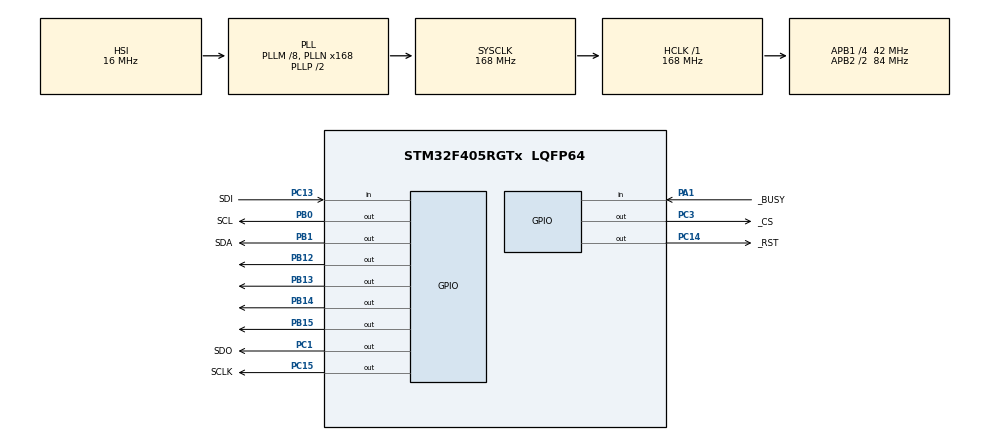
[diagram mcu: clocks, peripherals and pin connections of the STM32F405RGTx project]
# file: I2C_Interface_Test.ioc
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Mcu.Family=STM32F4
Mcu.Name=STM32F405RGTx
Mcu.Package=LQFP64
NVIC.PriorityGroup=NVIC_PRIORITYGROUP_4
PA1.GPIO_Label=_BUSY
PA1.Signal=GPIO_Input
PA13.Mode=Serial_Wire
PA13.Signal=SYS_JTMS-SWDIO
PA14.Mode=Serial_Wire
PA14.Signal=SYS_JTCK-SWCLK
PB0.GPIO_Label=SCL
PB0.GPIO_ModeDefaultOutputPP=GPIO_MODE_OUTPUT_PP
PB0.GPIO_PuPd=GPIO_NOPULL
PB0.GPIO_Speed=GPIO_SPEED_FREQ_VERY_HIGH
PB0.PinState=GPIO_PIN_SET
PB0.Signal=GPIO_Output
PB1.GPIO_Label=SDA
PB1.GPIO_ModeDefaultOutputPP=GPIO_MODE_OUTPUT_OD
PB1.GPIO_PuPd=GPIO_NOPULL
PB1.GPIO_Speed=GPIO_SPEED_FREQ_VERY_HIGH
PB1.PinState=GPIO_PIN_SET
PB1.Signal=GPIO_Output
PB12.GPIO_Speed=GPIO_SPEED_FREQ_VERY_HIGH
PB12.Signal=GPIO_Output
PB13.GPIO_Speed=GPIO_SPEED_FREQ_VERY_HIGH
PB13.Signal=GPIO_Output
PB14.GPIO_Speed=GPIO_SPEED_FREQ_VERY_HIGH
PB14.Signal=GPIO_Output
PB15.GPIO_ModeDefaultOutputPP=GPIO_MODE_OUTPUT_OD
PB15.GPIO_Speed=GPIO_SPEED_FREQ_VERY_HIGH
PB15.PinState=GPIO_PIN_SET
PB15.Signal=GPIO_Output
PC1.GPIO_Label=SDO
PC1.PinState=GPIO_PIN_SET
PC1.Signal=GPIO_Output
PC13-ANTI_TAMP.GPIO_Label=SDI
PC13-ANTI_TAMP.Signal=GPIO_Input
PC14-OSC32_IN.GPIO_Label=_RST
PC14-OSC32_IN.PinState=GPIO_PIN_SET
PC14-OSC32_IN.Signal=GPIO_Output
PC15-OSC32_OUT.GPIO_Label=SCLK
PC15-OSC32_OUT.Signal=GPIO_Output
PC3.GPIO_Label=_CS
PC3.PinState=GPIO_PIN_SET
PC3.Signal=GPIO_Output
PH0-OSC_IN.Mode=HSE-External-Clock-Source
PH0-OSC_IN.Signal=RCC_OSC_IN
PH1-OSC_OUT.Mode=HSE-External-Clock-Source
PH1-OSC_OUT.Signal=RCC_OSC_OUT
ProjectManager.HeapSize=0x200
ProjectManager.StackSize=0x400
ProjectManager.TargetToolchain=MDK-ARM V5
RCC.48MHZClocksFreq_Value=84000000
RCC.AHBFreq_Value=168000000
RCC.APB1CLKDivider=RCC_HCLK_DIV4
RCC.APB1Freq_Value=42000000
RCC.APB1TimFreq_Value=84000000
RCC.APB2CLKDivider=RCC_HCLK_DIV2
RCC.APB2Freq_Value=84000000
RCC.APB2TimFreq_Value=168000000
RCC.CortexFreq_Value=168000000
RCC.HCLKFreq_Value=168000000
RCC.HSE_VALUE=8000000
RCC.HSI_VALUE=16000000
RCC.LSE_VALUE=32768
RCC.PLLM=8
RCC.PLLN=168
RCC.SYSCLKFreq_VALUE=168000000
RCC.SYSCLKSource=RCC_SYSCLKSOURCE_PLLCLK
RCC.VCOOutputFreq_Value=336000000
board=custom

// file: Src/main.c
/* USER CODE BEGIN Header */
/**
  ******************************************************************************
  * @file           : main.c
  * @brief          : Main program body
  ******************************************************************************
  * @attention
  *
  * <h2><center>&copy; Copyright (c) 2021 STMicroelectronics.
  * All rights reserved.</center></h2>
  *
  * This software component is licensed by ST under BSD 3-Clause license,
  * the "License"; You may not use this file except in compliance with the
  * License. You may obtain a copy of the License at:
  *                        opensource.org/licenses/BSD-3-Clause
  *
  ******************************************************************************
  */
/* USER CODE END Header */
#include "main.h"

/* USER CODE BEGIN Includes */
#include "i2c.h"
#include "spi.h"
#include "timer7.h"
#include "uart.h"
/* USER CODE END Includes */

/* USER CODE BEGIN PV */
volatile uint32_t state_machine;
uint8_t pin_select;
uint8_t pin_state;
/* USER CODE END PV */

void SystemClock_Config(void);
static void MX_GPIO_Init(void);

int main(void)
{
  /* USER CODE BEGIN 1 */
	static uint8_t echo;
  /* USER CODE END 1 */

  /* MCU Configuration--------------------------------------------------------*/

  /* Reset of all peripherals, Initializes the Flash interface and the Systick. */
  HAL_Init();

  /* USER CODE BEGIN Init */
	init_uart();
	init_timer7();
	i2c.device_addr = 0x48;
	state_machine = IDLE;
  /* USER CODE END Init */

  /* Configure the system clock */
  SystemClock_Config();

  /* Initialize all configured peripherals */
  MX_GPIO_Init();
  /* USER CODE BEGIN 2 */
  /* _RST keep high to init ADATE for 20ms */
  HAL_GPIO_WritePin(GPIOC, _RST_Pin, GPIO_PIN_SET);
  HAL_Delay(20);
  ate_hw_reset();
  /* USER CODE END 2 */

  /* Infinite loop */
  while (1)
  {

    /* USER CODE BEGIN 3 */
    switch (state_machine) {
    case WRITE_I2C:
        i2c.RW = 0;
        echo = write_i2c(i2c.device_addr, i2c.reg_addr, i2c.data_length,
                         (uint8_t *) i2c.data);
        write_uart(&echo, 1);
        state_machine = IDLE;
        break;
    case READ_I2C:
        i2c.RW = 1;
        echo = read_i2c(i2c.device_addr, i2c.reg_addr, i2c.data_length,
                        (uint8_t *) i2c.data);
        write_uart(&echo, 1);
        if (echo == 0x00)
            write_uart((uint8_t *) i2c.data, i2c.data_length);
        state_machine = IDLE;
        break;
    case SET_I2C_ADDR:
        echo = 0;
        write_uart(&echo, 1);
        state_machine = IDLE;
        break;
    case WRITE_SPI:
        /*
         * ADATE320 SPI word definition
         *   26   25   24  ...  17    16   15   ...  0
         *  ---- ---- ----     ----  ---- -----     ----
         * | C1 | C0 | A6 |...| A0 | R/W | D15 |...| D0 |
         *  ---- ---- ----     ----  ---- -----     ----
         * spi_word[25:24] = channel
         * spi_word[23:17] = address
         * spi_word[16]    = read/write
         * spi_word[15:0]  = data
         */
        echo = write_spi(sdo);
        write_uart(&echo, 1);
        state_machine = IDLE;
        break;
    case READ_SPI:
        /*
         * There are two steps to read SPI, Read request and Readout instructions.
         *
         * In SPI read request instruction:
         * Set channel, address, read bit; Data is don't care
         *
         * In SPI readout instruction:
         * Set address to NOP register(0x00); Channel, read bit, data are don't care
         */
        write_spi(sdo);         /* Read request */
        sdi.spi.address = 0x00; /* Set NOP address */
        echo = read_spi(&sdi);  /* Readout */
        write_uart(&echo, 1);
        if (echo == 0x00)
            write_uart((uint8_t *)&sdi.spi.data_lo, 2);
        state_machine = IDLE;
        break;
    case SET_IO:
        if (pin_state == 1)
          GPIOB->ODR |= (1 << pin_select);
        else
          GPIOB->ODR &= ~(1 << pin_select);
        echo = 0;
        write_uart(&echo, 1);
        state_machine = IDLE;
        break;
    default:
        break;
    }
  }
  /* USER CODE END 3 */
}

void SystemClock_Config(void)
{
  RCC_OscInitTypeDef RCC_OscInitStruct = {0};
  RCC_ClkInitTypeDef RCC_ClkInitStruct = {0};

  /** Configure the main internal regulator output voltage
  */
  __HAL_RCC_PWR_CLK_ENABLE();
  __HAL_PWR_VOLTAGESCALING_CONFIG(PWR_REGULATOR_VOLTAGE_SCALE1);
  /** Initializes the RCC Oscillators according to the specified parameters
  * in the RCC_OscInitTypeDef structure.
  */
  RCC_OscInitStruct.OscillatorType = RCC_OSCILLATORTYPE_HSI;
  RCC_OscInitStruct.HSIState = RCC_HSI_ON;
  RCC_OscInitStruct.HSICalibrationValue = RCC_HSICALIBRATION_DEFAULT;
  RCC_OscInitStruct.PLL.PLLState = RCC_PLL_ON;
  RCC_OscInitStruct.PLL.PLLSource = RCC_PLLSOURCE_HSI;
  RCC_OscInitStruct.PLL.PLLM = 8;
  RCC_OscInitStruct.PLL.PLLN = 168;
  RCC_OscInitStruct.PLL.PLLP = RCC_PLLP_DIV2;
  RCC_OscInitStruct.PLL.PLLQ = 4;
  if (HAL_RCC_OscConfig(&RCC_OscInitStruct) != HAL_OK)
  {
    Error_Handler();
  }
  /** Initializes the CPU, AHB and APB buses clocks
  */
  RCC_ClkInitStruct.ClockType = RCC_CLOCKTYPE_HCLK|RCC_CLOCKTYPE_SYSCLK
                              |RCC_CLOCKTYPE_PCLK1|RCC_CLOCKTYPE_PCLK2;
  RCC_ClkInitStruct.SYSCLKSource = RCC_SYSCLKSOURCE_PLLCLK;
  RCC_ClkInitStruct.AHBCLKDivider = RCC_SYSCLK_DIV1;
  RCC_ClkInitStruct.APB1CLKDivider = RCC_HCLK_DIV4;
  RCC_ClkInitStruct.APB2CLKDivider = RCC_HCLK_DIV2;

  if (HAL_RCC_ClockConfig(&RCC_ClkInitStruct, FLASH_LATENCY_5) != HAL_OK)
  {
    Error_Handler();
  }
}

static void MX_GPIO_Init(void)
{
  GPIO_InitTypeDef GPIO_InitStruct = {0};

  /* GPIO Ports Clock Enable */
  __HAL_RCC_GPIOC_CLK_ENABLE();
  __HAL_RCC_GPIOH_CLK_ENABLE();
  __HAL_RCC_GPIOA_CLK_ENABLE();
  __HAL_RCC_GPIOB_CLK_ENABLE();

  /*Configure GPIO pin Output Level */
  HAL_GPIO_WritePin(GPIOC, _RST_Pin|SDO_Pin|_CS_Pin, GPIO_PIN_SET);

  /*Configure GPIO pin Output Level */
  HAL_GPIO_WritePin(SCLK_GPIO_Port, SCLK_Pin, GPIO_PIN_RESET);

  /*Configure GPIO pin Output Level */
  HAL_GPIO_WritePin(GPIOB, SCL_Pin|SDA_Pin|GPIO_PIN_15, GPIO_PIN_SET);

  /*Configure GPIO pin Output Level */
  HAL_GPIO_WritePin(GPIOB, GPIO_PIN_12|GPIO_PIN_13|GPIO_PIN_14, GPIO_PIN_RESET);

  /*Configure GPIO pin : SDI_Pin */
  GPIO_InitStruct.Pin = SDI_Pin;
  GPIO_InitStruct.Mode = GPIO_MODE_INPUT;
  GPIO_InitStruct.Pull = GPIO_NOPULL;
  HAL_GPIO_Init(SDI_GPIO_Port, &GPIO_InitStruct);

  /*Configure GPIO pins : _RST_Pin SCLK_Pin SDO_Pin _CS_Pin */
  GPIO_InitStruct.Pin = _RST_Pin|SCLK_Pin|SDO_Pin|_CS_Pin;
  GPIO_InitStruct.Mode = GPIO_MODE_OUTPUT_PP;
  GPIO_InitStruct.Pull = GPIO_NOPULL;
  GPIO_InitStruct.Speed = GPIO_SPEED_FREQ_LOW;
  HAL_GPIO_Init(GPIOC, &GPIO_InitStruct);

  /*Configure GPIO pin : _BUSY_Pin */
  GPIO_InitStruct.Pin = _BUSY_Pin;
  GPIO_InitStruct.Mode = GPIO_MODE_INPUT;
  GPIO_InitStruct.Pull = GPIO_NOPULL;
  HAL_GPIO_Init(_BUSY_GPIO_Port, &GPIO_InitStruct);

  /*Configure GPIO pins : SCL_Pin PB12 PB13 PB14 */
  GPIO_InitStruct.Pin = SCL_Pin|GPIO_PIN_12|GPIO_PIN_13|GPIO_PIN_14;
  GPIO_InitStruct.Mode = GPIO_MODE_OUTPUT_PP;
  GPIO_InitStruct.Pull = GPIO_NOPULL;
  GPIO_InitStruct.Speed = GPIO_SPEED_FREQ_VERY_HIGH;
  HAL_GPIO_Init(GPIOB, &GPIO_InitStruct);

  /*Configure GPIO pins : SDA_Pin PB15 */
  GPIO_InitStruct.Pin = SDA_Pin|GPIO_PIN_15;
  GPIO_InitStruct.Mode = GPIO_MODE_OUTPUT_OD;
  GPIO_InitStruct.Pull = GPIO_NOPULL;
  GPIO_InitStruct.Speed = GPIO_SPEED_FREQ_VERY_HIGH;
  HAL_GPIO_Init(GPIOB, &GPIO_InitStruct);

}

void Error_Handler(void)
{
  __disable_irq();
  while (1)
  {
  }
}

/************************ (C) COPYRIGHT STMicroelectronics *****END OF FILE****/
